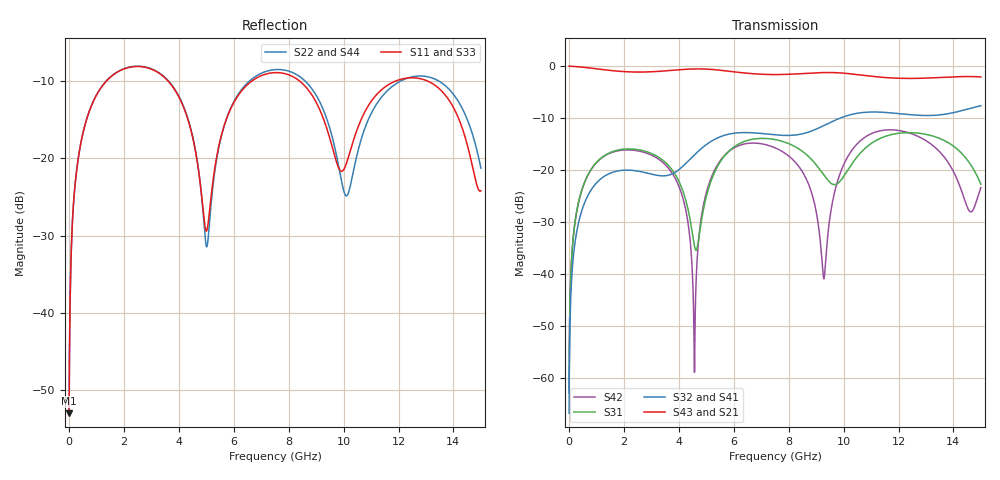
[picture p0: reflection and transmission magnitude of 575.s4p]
! Created with skrf 1.8.0 (http://scikit-rf.org).
# GHz S RI R 50.0
!freq ReS11 ImS11 ReS12 ImS12 ReS13 ImS13
! ReS14 ImS14
! ReS21 ImS21 ReS22 ImS22 ReS23 ImS23
! ReS24 ImS24
! ReS31 ImS31 ReS32 ImS32 ReS33 ImS33
! ReS34 ImS34
! ReS41 ImS41 ReS42 ImS42 ReS43 ImS43
! ReS44 ImS44
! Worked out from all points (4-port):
!   2499 points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, 5 MHz to 15 GHz, reference 50 ohm
!   strongest paths, dB at 5 MHz, 3.476 GHz, 7.19 GHz, 11.1 GHz, 15 GHz:
!     S43: 0.0, -0.9, -1.6, -2.0, -2.1
!     S21: 0.0, -0.9, -1.6, -2.0, -2.1
!     S32: -66.8, -21.1, -13.1, -8.8, -7.6
!     S41: -66.8, -21.2, -13.1, -8.8, -7.6
!     S31: -62.8, -18.4, -13.9, -14.6, -22.7
!     S42: -62.8, -18.8, -15.1, -12.8, -23.4
!   lowest |S11| = -53.0 dB at 5 MHz (marker M1), VSWR 1.00, Z = 50.2 + j0.136 ohm
!   |S11| at or under -10 dB: 3.602 GHz to 6.67 GHz (3.068 GHz wide, 59.7 % of centre); 8.388 GHz to 11.92 GHz (3.527 GHz wide, 34.7 % of centre); 13.04 GHz to end of sweep (the widest 3 of 4)
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0.005  0.00179 0.00136  0.9982 -0.00348  9.08e-05 0.00072  -8.8e-05 -0.00045
       0.9982 -0.00348  0.00179 0.00136  -8.8e-05 -0.00045  9.06e-05 0.00072
       9.08e-05 0.00072  -8.8e-05 -0.00045  0.00179 0.00136  0.9982 -0.00348
       -8.8e-05 -0.00045  9.06e-05 0.00072  0.9982 -0.00348  0.00179 0.00136
0.4126719  0.0429 0.1121  0.94 -0.2794  0.0218 0.053  -0.0176 -0.0319
           0.94 -0.2794  0.0431 0.1121  -0.0176 -0.0319  0.021 0.0533
           0.0218 0.053  -0.0176 -0.0319  0.0429 0.1121  0.94 -0.2794
           -0.0176 -0.0319  0.021 0.0533  0.94 -0.2794  0.0431 0.1121
1.925802  0.3554 0.1126  0.3097 -0.8319  0.1574 0.0163  -0.0935 0.0331
          0.3097 -0.8319  0.3577 0.1095  -0.0937 0.0334  0.1523 0.0301
          0.1574 0.0163  -0.0937 0.0334  0.3552 0.1127  0.3098 -0.8319
          -0.0935 0.0331  0.1523 0.0301  0.3098 -0.8319  0.3578 0.1094
4.564402  0.0624 -0.1042  -0.8769 -0.3362  -0.0162 -0.00978  -0.0467 0.1316
          -0.8769 -0.3362  0.056 -0.1099  -0.0445 0.1323  0.00117 -0.000277
          -0.0162 -0.00978  -0.0445 0.1323  0.0635 -0.1033  -0.8769 -0.3363
          -0.0467 0.1316  0.00117 -0.000277  -0.8769 -0.3363  0.0546 -0.11
5.696123  0.1098 0.1318  -0.836 0.3344  0.096 0.1019  0.1056 0.1898
          -0.836 0.3344  0.1059 0.1347  0.1085 0.1883  0.0895 0.109
          0.096 0.1019  0.1085 0.1883  0.1109 0.131  -0.8361 0.3341
          0.1056 0.1898  0.0895 0.109  -0.8361 0.3341  0.1047 0.1358
10.10421  0.0877 0.0299  0.8448 0.0949  -0.0319 0.09  0.0322 -0.3313
          0.8448 0.0949  0.0567 -0.00614  0.022 -0.3315  0.0466 0.1188
          -0.0319 0.09  0.022 -0.3315  0.0933 0.0292  0.8447 0.0962
          0.0322 -0.3313  0.0466 0.1188  0.8447 0.0962  0.0518 -0.00529
15  0.061 0.00849  -0.7476 -0.2445  -0.0676 -0.0282  -0.1303 0.3953
    -0.7476 -0.2445  0.0559 -0.0657  -0.1102 0.4007  0.059 0.0337
    -0.0676 -0.0282  -0.1102 0.4007  0.0732 0.0144  -0.7468 -0.2471
    -0.1303 0.3953  0.059 0.0337  -0.7468 -0.2471  0.045 -0.0649
